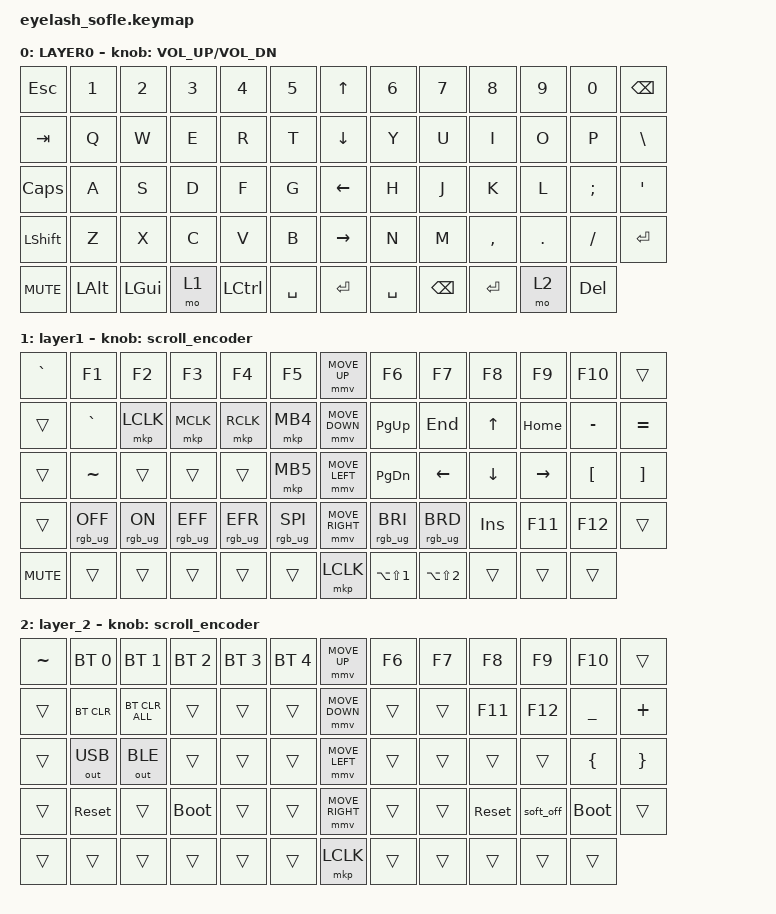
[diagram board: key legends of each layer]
#define ZMK_POINTING_DEFAULT_MOVE_VAL 1200  // 600
#define ZMK_POINTING_DEFAULT_SCRL_VAL 25   // 10

#include <input/processors.dtsi>
#include <zephyr/dt-bindings/input/input-event-codes.h>
#include <behaviors.dtsi>
#include <dt-bindings/zmk/bt.h>
#include <dt-bindings/zmk/keys.h>
#include <dt-bindings/zmk/outputs.h>
#include <dt-bindings/zmk/pointing.h>
#include <dt-bindings/zmk/rgb.h>

&mmv_input_listener { input-processors = <&zip_xy_scaler 2 1>; };

&msc_input_listener { input-processors = <&zip_scroll_scaler 2 1>; };

&msc {
    acceleration-exponent = <1>;      // 0
    time-to-max-speed-ms = <100>;       // 300
    delay-ms = <0>;                   // 0
};

&mmv {
    time-to-max-speed-ms = <500>;
    acceleration-exponent = <1>;
    trigger-period-ms = <16>;
};

/ {
    scroll_encoder: scroll_encoder {
        compatible = "zmk,behavior-sensor-rotate";
        #sensor-binding-cells = <0>;
        bindings = <&msc SCRL_DOWN>, <&msc SCRL_UP>;

        tap-ms = <100>;
    };

    combos {
        compatible = "zmk,combos";

        lpar {
            bindings = <&kp LPAR>;
            key-positions = <17 18>;
        };

        rpar {
            bindings = <&kp RPAR>;
            key-positions = <20 21>;
        };

        lbkt {
            bindings = <&kp LBKT>;
            key-positions = <30 31>;
        };

        rbkt {
            bindings = <&kp RBKT>;
            key-positions = <33 34>;
        };

        lbrc {
            bindings = <&kp LBRC>;
            key-positions = <43 44>;
        };

        rbrc {
            bindings = <&kp RBRC>;
            key-positions = <46 47>;
        };

        minus {
            bindings = <&kp MINUS>;
            key-positions = <16 17>;
        };

        plus {
            bindings = <&kp PLUS>;
            key-positions = <15 16>;
        };

        dqt {
            bindings = <&kp DQT>;
            key-positions = <29 30>;
        };

        sqt {
            bindings = <&kp SQT>;
            key-positions = <34 35>;
        };

        under {
            bindings = <&kp UNDER>;
            key-positions = <21 22>;
        };

        pipe {
            bindings = <&kp PIPE>;
            key-positions = <22 23>;
        };

        tilde {
            bindings = <&kp TILDE>;
            key-positions = <14 15>;
        };

        grave {
            bindings = <&kp GRAVE>;
            key-positions = <27 28>;
        };
    };

    behaviors {
    };

    keymap {
        compatible = "zmk,keymap";

        layer0 {
            bindings = <
&kp ESC     &kp N1    &kp N2        &kp N3  &kp N4     &kp N5       &kp UP_ARROW     &kp N6     &kp N7         &kp N8     &kp N9   &kp N0      &kp BACKSPACE
&kp TAB     &kp Q     &kp W         &kp E   &kp R      &kp T        &kp DOWN_ARROW   &kp Y      &kp U          &kp I      &kp O    &kp P       &kp BSLH
&kp CAPS    &kp A     &kp S         &kp D   &kp F      &kp G        &kp LEFT_ARROW   &kp H      &kp J          &kp K      &kp L    &kp SEMI    &kp APOS
&kp LSHFT   &kp Z     &kp X         &kp C   &kp V      &kp B        &kp RIGHT_ARROW  &kp N      &kp M          &kp COMMA  &kp DOT  &kp FSLH    &kp ENTER
&kp C_MUTE  &kp LALT  &kp LEFT_GUI  &mo 1   &kp LCTRL  &kp SPACE    &kp ENTER        &kp SPACE  &kp BACKSPACE  &kp ENTER  &mo 2    &kp DELETE
            >;

            sensor-bindings = <&inc_dec_kp C_VOLUME_UP C_VOL_DN>;
            display-name = "LAYER0";
        };

        layer_1 {
            bindings = <
&kp GRAVE   &kp F1           &kp F2          &kp F3           &kp F4           &kp F5             &mmv MOVE_UP     &kp F6           &kp F7           &kp F8      &kp F9     &kp F10           &trans
&trans      &kp GRAVE        &mkp LCLK       &mkp MCLK        &mkp RCLK        &mkp MB4           &mmv MOVE_DOWN   &kp PG_UP        &kp END          &kp UP      &kp HOME   &kp MINUS         &kp EQUAL
&trans      &kp TILDE        &trans          &trans           &trans           &mkp MB5           &mmv MOVE_LEFT   &kp PG_DN        &kp LEFT         &kp DOWN    &kp RIGHT  &kp LEFT_BRACKET  &kp RIGHT_BRACKET
&trans      &rgb_ug RGB_OFF  &rgb_ug RGB_ON  &rgb_ug RGB_EFF  &rgb_ug RGB_EFR  &rgb_ug RGB_SPI    &mmv MOVE_RIGHT  &rgb_ug RGB_BRI  &rgb_ug RGB_BRD  &kp INSERT  &kp F11    &kp F12           &trans
&kp C_MUTE  &trans           &trans          &trans           &trans           &trans             &mkp LCLK        &kp LA(LS(N1))   &kp LA(LS(N2))   &trans      &trans     &trans
            >;

            display-name = "layer1";
            sensor-bindings = <&scroll_encoder>;
        };

        layer_2 {
            bindings = <
&kp TILDE  &bt BT_SEL 0  &bt BT_SEL 1    &bt BT_SEL 2  &bt BT_SEL 3  &bt BT_SEL 4    &mmv MOVE_UP     &kp F6  &kp F7  &kp F8      &kp F9     &kp F10      &trans
&trans     &bt BT_CLR    &bt BT_CLR_ALL  &trans        &trans        &trans          &mmv MOVE_DOWN   &trans  &trans  &kp F11     &kp F12    &kp UNDER    &kp PLUS
&trans     &out OUT_USB  &out OUT_BLE    &trans        &trans        &trans          &mmv MOVE_LEFT   &trans  &trans  &trans      &trans     &kp LBRC     &kp RBRC
&trans     &sys_reset    &trans          &bootloader   &trans        &trans          &mmv MOVE_RIGHT  &trans  &trans  &sys_reset  &soft_off  &bootloader  &trans
&trans     &trans        &trans          &trans        &trans        &trans          &mkp LCLK        &trans  &trans  &trans      &trans     &trans
            >;

            sensor-bindings = <&scroll_encoder>;
        };
    };
};
